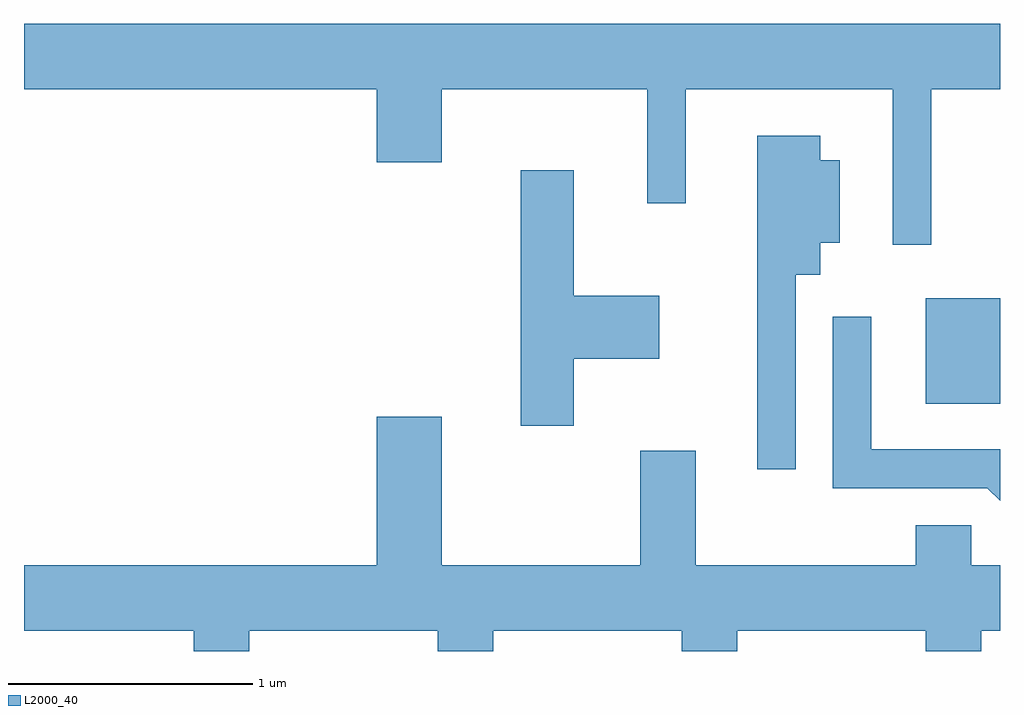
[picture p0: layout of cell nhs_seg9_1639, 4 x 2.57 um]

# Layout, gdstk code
import gdstk
lib = gdstk.Library(unit=1e-6, precision=1e-09)
def R(c, l, rs):  # rectangles x0, y0, x1, y1
    for r in rs: c.add(gdstk.rectangle(r[:2], r[2:], *l))
def P(c, l, *ps):  # polygons
    for p in ps: c.add(gdstk.Polygon(p, *l))
L2000_40 = (2000, 40)

nhs_seg9_1639 = lib.new_cell('nhs_seg9_1639')
R(nhs_seg9_1639, L2000_40, [(237.306,1959.446,237.611,1959.879)])
P(nhs_seg9_1639, L2000_40, [(237.329,1960.736),(237.611,1960.736),(237.611,1961.004),(233.611,1961.004),(233.611,1960.736),(235.056,1960.736),(235.056,1960.436),(235.324,1960.436),(235.324,1960.736),(236.166,1960.736),(236.166,1960.268),(236.324,1960.268),(236.324,1960.736),(237.171,1960.736),(237.171,1960.098),(237.329,1960.098)],
  [(236.774,1959.976),(236.874,1959.976),(236.874,1960.106),(236.954,1960.106),(236.954,1960.444),(236.874,1960.444),(236.874,1960.544),(236.616,1960.544),(236.616,1959.178),(236.774,1959.178)],
  [(235.864,1959.631),(236.214,1959.631),(236.214,1959.889),(235.864,1959.889),(235.864,1960.404),(235.646,1960.404),(235.646,1959.356),(235.864,1959.356)],
  [(237.611,1959.259),(237.084,1959.259),(237.084,1959.803),(236.926,1959.803),(236.926,1959.101),(237.559,1959.101),(237.611,1959.049)],
  [(234.534,1958.516),(235.306,1958.516),(235.306,1958.432),(235.534,1958.432),(235.534,1958.516),(236.306,1958.516),(236.306,1958.432),(236.534,1958.432),(236.534,1958.516),(237.306,1958.516),(237.306,1958.432),(237.534,1958.432),(237.534,1958.516),(237.611,1958.516),(237.611,1958.784),(237.494,1958.784),(237.494,1958.949),(237.266,1958.949),(237.266,1958.784),(236.364,1958.784),(236.364,1959.254),(236.136,1959.254),(236.136,1958.784),(235.324,1958.784),(235.324,1959.394),(235.056,1959.394),(235.056,1958.784),(233.611,1958.784),(233.611,1958.516),(234.306,1958.516),(234.306,1958.432),(234.534,1958.432)])

lib.write_gds('nhs_seg9_1639.gds')
